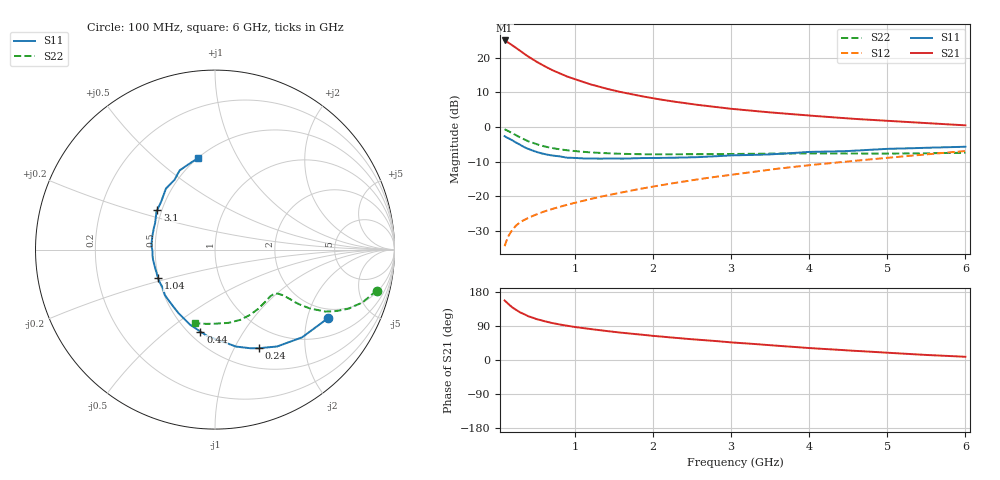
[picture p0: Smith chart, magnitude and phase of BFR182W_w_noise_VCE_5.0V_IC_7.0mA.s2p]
! Infineon Technologies  Discrete & RF Semiconductors
! BFR182W
! VCE =  5.0 V,  IC =  7.0 mA
! Common Emitter S-Parameters:  Nov 2015
# GHz  S  MA  R  50
!  f  S11  S21  S12  S22
! GHz  MAG  ANG  MAG  ANG  MAG  ANG  MAG  ANG
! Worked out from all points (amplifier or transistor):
!   192 points, 100 MHz to 6 GHz, reference 50 ohm
!   highest |S21| = 25.0 dB at 100 MHz (marker M1)
!   |S21| within 3 dB of that: start of sweep to 296.9 MHz
!   unconditionally stable (mu >= 1): 1.211 GHz to 2.835 GHz
!   at 440 MHz: K = 0.60, MSG = 22.9 dB, |S12| = -25.9 dB
!   at 1.7 GHz: K = 1.05, MAG = 12.7 dB, |S12| = -18.5 dB
!   at 6 GHz: K = 0.77, MSG = 3.7 dB, |S12| = -6.9 dB
!   lowest NFmin = 1.30 dB at 450 MHz
!   S11 on the Smith chart (normalised r, x): 100 MHz: 1.63, -2.72; 240 MHz: 0.73, -1.26; 440 MHz: 0.57, -0.66; 1.04 GHz: 0.50, -0.18; 3.1 GHz: 0.47, +0.25; 6 GHz: 0.50, +0.70
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0.1  0.7375 -31.0  17.87 157.1  0.0189 74.7  0.9294 -14.2
0.15  0.6892 -45.1  16.57 147.1  0.0266 69.3  0.8731 -19.7
0.2  0.6413 -57.3  15.21 138.6  0.0326 65.1  0.8129 -23.9
0.24  0.6011 -66.1  14.1 133.0  0.0368 62.2  0.7659 -26.4
0.3  0.5531 -77.7  12.57 125.4  0.042 59.5  0.7051 -29.3
0.4  0.484 -95.0  10.5 115.7  0.0484 57.2  0.6238 -31.8
0.44  0.4637 -100.1  9.842 113.1  0.0506 56.8  0.6012 -32.2
0.5  0.4408 -108.4  8.905 108.5  0.054 56.3  0.5673 -32.9
0.6  0.4087 -119.8  7.689 102.8  0.0597 56.9  0.5265 -33.4
0.7  0.3891 -128.8  6.724 97.9  0.0647 57.5  0.4982 -33.4
0.8  0.3773 -137.6  5.996 93.8  0.0697 58.4  0.4764 -33.7
0.9  0.3601 -144.2  5.379 90.3  0.0751 59.5  0.4603 -33.7
1.04  0.3548 -153.3  4.75 86.1  0.0823 60.7  0.4444 -34.3
1.1  0.3518 -156.5  4.519 84.5  0.0855 61.2  0.4385 -34.5
1.2  0.3493 -162.1  4.142 81.5  0.0909 62.0  0.4288 -34.9
1.5  0.35 -174.3  3.375 74.1  0.1075 63.8  0.413 -36.9
2.08  0.3573 167.1  2.515 62.3  0.1425 65.8  0.4028 -42.2
2.5  0.3636 156.8  2.137 54.7  0.17 66.2  0.4038 -46.9
3.1  0.3905 145.2  1.791 45.1  0.2115 65.5  0.4087 -55.5
4.1  0.4381 127.0  1.437 30.3  0.2877 61.7  0.4149 -72.0
5.1  0.4861 112.4  1.212 18.0  0.367 56.4  0.4129 -90.2
6  0.5182 100.4  1.058 8.5  0.4495 50.8  0.4248 -104.9
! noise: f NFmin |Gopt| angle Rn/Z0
0.45  1.3  0.26  40  0.29
0.9  1.45  0.25  81  0.23
1.8  2  0.21  157  0.2
